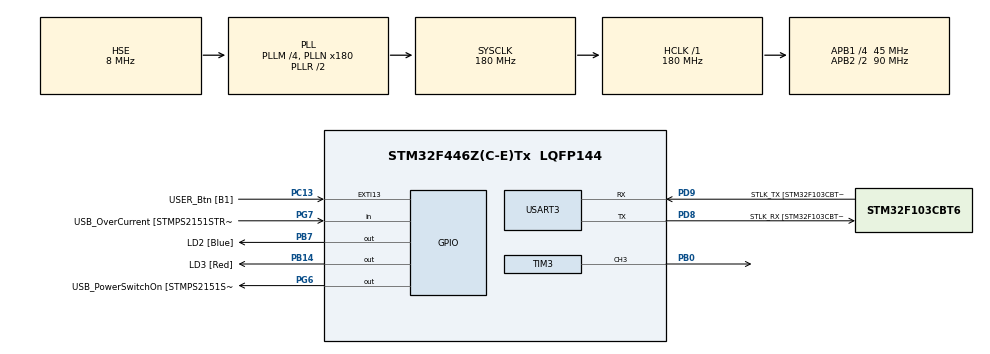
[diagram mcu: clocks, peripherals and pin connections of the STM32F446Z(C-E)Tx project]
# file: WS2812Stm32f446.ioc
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Dma.Request0=TIM3_CH3
Dma.TIM3_CH3.0.Direction=DMA_MEMORY_TO_PERIPH
Dma.TIM3_CH3.0.FIFOMode=DMA_FIFOMODE_DISABLE
Dma.TIM3_CH3.0.Instance=DMA1_Stream7
Dma.TIM3_CH3.0.MemDataAlignment=DMA_MDATAALIGN_HALFWORD
Dma.TIM3_CH3.0.MemInc=DMA_MINC_ENABLE
Dma.TIM3_CH3.0.Mode=DMA_CIRCULAR
Dma.TIM3_CH3.0.PeriphDataAlignment=DMA_PDATAALIGN_HALFWORD
Dma.TIM3_CH3.0.PeriphInc=DMA_PINC_DISABLE
Dma.TIM3_CH3.0.Priority=DMA_PRIORITY_LOW
Mcu.Family=STM32F4
Mcu.Name=STM32F446Z(C-E)Tx
Mcu.Package=LQFP144
NVIC.DMA1_Stream7_IRQn=true\:0\:0\:false\:false\:true\:false\:true\:true
NVIC.PriorityGroup=NVIC_PRIORITYGROUP_4
NVIC.TIM3_IRQn=true\:0\:0\:false\:false\:true\:true\:true\:true
PA10.GPIO_Label=USB_ID
PA10.Signal=USB_OTG_FS_ID
PA11.GPIO_Label=USB_DM
PA11.Signal=USB_OTG_FS_DM
PA12.GPIO_Label=USB_DP
PA12.Signal=USB_OTG_FS_DP
PA13.GPIO_Label=TMS
PA13.Mode=Serial_Wire
PA13.Signal=SYS_JTMS-SWDIO
PA14.GPIO_Label=TCK
PA14.Mode=Serial_Wire
PA14.Signal=SYS_JTCK-SWCLK
PA8.GPIO_Label=USB_SOF [TP1]
PA8.Signal=USB_OTG_FS_SOF
PA9.GPIO_Label=USB_VBUS
PA9.Signal=USB_OTG_FS_VBUS
PB0.Signal=S_TIM3_CH3
PB14.GPIO_Label=LD3 [Red]
PB14.Signal=GPIO_Output
PB7.GPIO_Label=LD2 [Blue]
PB7.Signal=GPIO_Output
PC13.GPIO_Label=USER_Btn [B1]
PC13.Signal=GPXTI13
PC14-OSC32_IN.Mode=LSE-External-Oscillator
PC14-OSC32_IN.Signal=RCC_OSC32_IN
PC15-OSC32_OUT.Mode=LSE-External-Oscillator
PC15-OSC32_OUT.Signal=RCC_OSC32_OUT
PD8.GPIO_Label=STLK_RX [STM32F103CBT6_PA3]
PD8.Mode=Asynchronous
PD8.Signal=USART3_TX
PD9.GPIO_Label=STLK_TX [STM32F103CBT6_PA2]
PD9.Mode=Asynchronous
PD9.Signal=USART3_RX
PG6.GPIO_Label=USB_PowerSwitchOn [STMPS2151STR_EN]
PG6.Signal=GPIO_Output
PG7.GPIO_Label=USB_OverCurrent [STMPS2151STR_FAULT]
PG7.Signal=GPIO_Input
PH0-OSC_IN.GPIO_Label=MCO [STM32F103CBT6_PA8]
PH0-OSC_IN.Mode=HSE-External-Clock-Source
PH0-OSC_IN.Signal=RCC_OSC_IN
PH1-OSC_OUT.Mode=HSE-External-Clock-Source
PH1-OSC_OUT.Signal=RCC_OSC_OUT
ProjectManager.HeapSize=0x200
ProjectManager.StackSize=0x400
ProjectManager.TargetToolchain=MDK-ARM V5.32
RCC.48MHZClocksFreq_Value=24000000
RCC.AHBFreq_Value=180000000
RCC.APB1CLKDivider=RCC_HCLK_DIV4
RCC.APB1Freq_Value=45000000
RCC.APB1TimFreq_Value=90000000
RCC.APB2CLKDivider=RCC_HCLK_DIV2
RCC.APB2Freq_Value=90000000
RCC.APB2TimFreq_Value=180000000
RCC.CortexFreq_Value=180000000
RCC.HCLKFreq_Value=180000000
RCC.HSE_VALUE=8000000
RCC.HSI_VALUE=16000000
RCC.PLLM=4
RCC.PLLMUL=RCC_PLL_MUL9
RCC.PLLN=180
RCC.PLLQ=7
RCC.PLLSourceVirtual=RCC_PLLSOURCE_HSE
RCC.PRESCALERUSB=RCC_USBCLKSOURCE_PLL_DIV1_5
RCC.SYSCLKFreq_VALUE=180000000
RCC.SYSCLKSource=RCC_SYSCLKSOURCE_PLLRCLK
RCC.SYSCLKSourceVirtual=RCC_SYSCLKSOURCE_PLLCLK
RCC.USBFreq_Value=51428571.428571425
RCC.VCOOutputFreq_Value=360000000
SH.S_TIM3_CH3.0=TIM3_CH3,PWM Generation3 CH3
TIM3.Channel-PWM\ Generation3\ CH3=TIM_CHANNEL_3
TIM3.Period=89
USART3.VirtualMode=VM_ASYNC
board=NUCLEO-F446ZE

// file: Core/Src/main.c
/* USER CODE BEGIN Header */
/**
  ******************************************************************************
  * @file           : main.c
  * @brief          : Main program body
  ******************************************************************************
  * @attention
  *
  * Copyright (c) 2024 STMicroelectronics.
  * All rights reserved.
  *
  * This software is licensed under terms that can be found in the LICENSE file
  * in the root directory of this software component.
  * If no LICENSE file comes with this software, it is provided AS-IS.
  *
  ******************************************************************************
  */
/* USER CODE END Header */
#include "main.h"

/* USER CODE BEGIN PD */
#define LED_COUNT 16  // Number of LEDs
#define LED_DATA_SIZE (LED_COUNT * 24)  // Each LED requires 24 bits (8 bits for each color)
#define T0H 30  // High time for a '0' bit (in timer ticks)
#define T1H 60  // High time for a '1' bit (in timer ticks)
#define RES 50  // Reset time (in microseconds)
/* USER CODE END PD */

TIM_HandleTypeDef htim3;
DMA_HandleTypeDef hdma_tim3_ch3;

UART_HandleTypeDef huart3;

/* USER CODE BEGIN PV */
uint8_t led_data[LED_DATA_SIZE];
uint16_t pwm_data[LED_DATA_SIZE];
volatile uint32_t current_led_bit = 0;
volatile uint8_t sending_data = 0;
/* USER CODE END PV */

void SystemClock_Config(void);
static void MX_GPIO_Init(void);
static void MX_DMA_Init(void);
static void MX_TIM3_Init(void);
static void MX_USART3_UART_Init(void);
/* USER CODE BEGIN PFP */
void Set_LED_Color(uint16_t led_number, uint8_t red, uint8_t green, uint8_t blue) {
    uint32_t led_index = led_number * 24;
    for (int i = 0; i < 8; i++) {
        pwm_data[led_index + i] = (green & (1 << (7 - i))) ? T1H : T0H;
        pwm_data[led_index + 8 + i] = (red & (1 << (7 - i))) ? T1H : T0H;
        pwm_data[led_index + 16 + i] = (blue & (1 << (7 - i))) ? T1H : T0H;
    }
}
void WS2812_Send(void) {
    sending_data = 1;
    HAL_TIM_PWM_Start_DMA(&htim3, TIM_CHANNEL_3, (uint32_t*)pwm_data, LED_DATA_SIZE);
}

void HAL_TIM_PWM_PulseFinishedCallback(TIM_HandleTypeDef *htim) {
    if (htim->Instance == TIM3) {
        HAL_TIM_PWM_Stop_DMA(htim, TIM_CHANNEL_3);
        sending_data = 0;
    }
}
//void WS2812_Send(void) {
//    current_led_bit = 0;
//    sending_data = 1;
//    HAL_TIM_Base_Start_IT(&htim3);
//}

//void HAL_TIM_PWM_PulseFinishedCallback(TIM_HandleTypeDef *htim) {
//    if (htim->Instance == TIM3) {
//        if (current_led_bit < LED_DATA_SIZE) {
//            uint8_t bit_value = led_data[current_led_bit++];
//            __HAL_TIM_SET_COMPARE(htim, TIM_CHANNEL_3, bit_value);
//        } else {
//            HAL_TIM_Base_Stop_IT(htim);
//            __HAL_TIM_SET_COMPARE(htim, TIM_CHANNEL_3, 0);  // Data transfer complete
//            sending_data = 0;
//        }
//    }
//}
/* USER CODE END PFP */

int main(void)
{

  /* MCU Configuration--------------------------------------------------------*/

  /* Reset of all peripherals, Initializes the Flash interface and the Systick. */
  HAL_Init();

  /* Configure the system clock */
  SystemClock_Config();

  /* Initialize all configured peripherals */
  MX_GPIO_Init();
  MX_DMA_Init();
  MX_TIM3_Init();
  MX_USART3_UART_Init();

  /* Infinite loop */
  /* USER CODE BEGIN WHILE */
  while (1)
  {
     for (uint32_t brightness = 0; brightness <= 255; brightness++) {
        for (uint32_t i = 0; i < LED_COUNT; i++) {
            // Tüm LED'leri kapat
            for (uint32_t j = 0; j < LED_COUNT; j++) {
                Set_LED_Color(j, 0, 0, 0);
            }
            WS2812_Send();
            HAL_Delay(5);

            // Kirmizi renk
            Set_LED_Color(i, brightness, 0, 0);
            WS2812_Send();
            HAL_Delay(5);

            // Yesil renk
            Set_LED_Color(i, 0, brightness, 0);
            WS2812_Send();
            HAL_Delay(5);

            // Mavi renk
            Set_LED_Color(i, 0, 0, brightness);
            WS2812_Send();
            HAL_Delay(5);
        }
    }

    for (uint32_t brightness = 255; brightness > 0; brightness--) {
        for (uint32_t i = 0; i < LED_COUNT; i++) {
            // Tüm LED'leri kapat
            for (uint32_t j = 0; j < LED_COUNT; j++) {
                Set_LED_Color(j, 0, 0, 0);
            }
            WS2812_Send();
            HAL_Delay(5);

            // Kirmizi renk
            Set_LED_Color(i, brightness, 0, 0);
            WS2812_Send();
            HAL_Delay(5);

            // Yesil renk
            Set_LED_Color(i, 0, brightness, 0);
            WS2812_Send();
            HAL_Delay(5);

            // Mavi renk
            Set_LED_Color(i, 0, 0, brightness);
            WS2812_Send();
            HAL_Delay(5);
        }
    }

    /* USER CODE END WHILE */

  }
}

void SystemClock_Config(void)
{
  RCC_OscInitTypeDef RCC_OscInitStruct = {0};
  RCC_ClkInitTypeDef RCC_ClkInitStruct = {0};

  /** Configure the main internal regulator output voltage
  */
  __HAL_RCC_PWR_CLK_ENABLE();
  __HAL_PWR_VOLTAGESCALING_CONFIG(PWR_REGULATOR_VOLTAGE_SCALE1);

  /** Initializes the RCC Oscillators according to the specified parameters
  * in the RCC_OscInitTypeDef structure.
  */
  RCC_OscInitStruct.OscillatorType = RCC_OSCILLATORTYPE_HSE;
  RCC_OscInitStruct.HSEState = RCC_HSE_BYPASS;
  RCC_OscInitStruct.PLL.PLLState = RCC_PLL_ON;
  RCC_OscInitStruct.PLL.PLLSource = RCC_PLLSOURCE_HSE;
  RCC_OscInitStruct.PLL.PLLM = 4;
  RCC_OscInitStruct.PLL.PLLN = 180;
  RCC_OscInitStruct.PLL.PLLP = RCC_PLLP_DIV2;
  RCC_OscInitStruct.PLL.PLLQ = 7;
  RCC_OscInitStruct.PLL.PLLR = 2;
  if (HAL_RCC_OscConfig(&RCC_OscInitStruct) != HAL_OK)
  {
    Error_Handler();
  }

  /** Activate the Over-Drive mode
  */
  if (HAL_PWREx_EnableOverDrive() != HAL_OK)
  {
    Error_Handler();
  }

  /** Initializes the CPU, AHB and APB buses clocks
  */
  RCC_ClkInitStruct.ClockType = RCC_CLOCKTYPE_HCLK|RCC_CLOCKTYPE_SYSCLK
                              |RCC_CLOCKTYPE_PCLK1|RCC_CLOCKTYPE_PCLK2;
  RCC_ClkInitStruct.SYSCLKSource = RCC_SYSCLKSOURCE_PLLRCLK;
  RCC_ClkInitStruct.AHBCLKDivider = RCC_SYSCLK_DIV1;
  RCC_ClkInitStruct.APB1CLKDivider = RCC_HCLK_DIV4;
  RCC_ClkInitStruct.APB2CLKDivider = RCC_HCLK_DIV2;

  if (HAL_RCC_ClockConfig(&RCC_ClkInitStruct, FLASH_LATENCY_5) != HAL_OK)
  {
    Error_Handler();
  }
}

static void MX_TIM3_Init(void)
{

  TIM_MasterConfigTypeDef sMasterConfig = {0};
  TIM_OC_InitTypeDef sConfigOC = {0};

  htim3.Instance = TIM3;
  htim3.Init.Prescaler = 0;
  htim3.Init.CounterMode = TIM_COUNTERMODE_UP;
  htim3.Init.Period = 89;
  htim3.Init.ClockDivision = TIM_CLOCKDIVISION_DIV1;
  htim3.Init.AutoReloadPreload = TIM_AUTORELOAD_PRELOAD_DISABLE;
  if (HAL_TIM_PWM_Init(&htim3) != HAL_OK)
  {
    Error_Handler();
  }
  sMasterConfig.MasterOutputTrigger = TIM_TRGO_RESET;
  sMasterConfig.MasterSlaveMode = TIM_MASTERSLAVEMODE_DISABLE;
  if (HAL_TIMEx_MasterConfigSynchronization(&htim3, &sMasterConfig) != HAL_OK)
  {
    Error_Handler();
  }
  sConfigOC.OCMode = TIM_OCMODE_PWM1;
  sConfigOC.Pulse = 0;
  sConfigOC.OCPolarity = TIM_OCPOLARITY_HIGH;
  sConfigOC.OCFastMode = TIM_OCFAST_DISABLE;
  if (HAL_TIM_PWM_ConfigChannel(&htim3, &sConfigOC, TIM_CHANNEL_3) != HAL_OK)
  {
    Error_Handler();
  }
  HAL_TIM_MspPostInit(&htim3);

}

static void MX_USART3_UART_Init(void)
{

  huart3.Instance = USART3;
  huart3.Init.BaudRate = 115200;
  huart3.Init.WordLength = UART_WORDLENGTH_8B;
  huart3.Init.StopBits = UART_STOPBITS_1;
  huart3.Init.Parity = UART_PARITY_NONE;
  huart3.Init.Mode = UART_MODE_TX_RX;
  huart3.Init.HwFlowCtl = UART_HWCONTROL_NONE;
  huart3.Init.OverSampling = UART_OVERSAMPLING_16;
  if (HAL_UART_Init(&huart3) != HAL_OK)
  {
    Error_Handler();
  }

}

static void MX_DMA_Init(void)
{

  /* DMA controller clock enable */
  __HAL_RCC_DMA1_CLK_ENABLE();

  /* DMA interrupt init */
  /* DMA1_Stream7_IRQn interrupt configuration */
  HAL_NVIC_SetPriority(DMA1_Stream7_IRQn, 0, 0);
  HAL_NVIC_EnableIRQ(DMA1_Stream7_IRQn);

}

static void MX_GPIO_Init(void)
{
  GPIO_InitTypeDef GPIO_InitStruct = {0};

  /* GPIO Ports Clock Enable */
  __HAL_RCC_GPIOC_CLK_ENABLE();
  __HAL_RCC_GPIOH_CLK_ENABLE();
  __HAL_RCC_GPIOB_CLK_ENABLE();
  __HAL_RCC_GPIOD_CLK_ENABLE();
  __HAL_RCC_GPIOG_CLK_ENABLE();
  __HAL_RCC_GPIOA_CLK_ENABLE();

  /*Configure GPIO pin Output Level */
  HAL_GPIO_WritePin(GPIOB, LD3_Pin|LD2_Pin, GPIO_PIN_RESET);

  /*Configure GPIO pin Output Level */
  HAL_GPIO_WritePin(USB_PowerSwitchOn_GPIO_Port, USB_PowerSwitchOn_Pin, GPIO_PIN_RESET);

  /*Configure GPIO pin : USER_Btn_Pin */
  GPIO_InitStruct.Pin = USER_Btn_Pin;
  GPIO_InitStruct.Mode = GPIO_MODE_IT_RISING;
  GPIO_InitStruct.Pull = GPIO_NOPULL;
  HAL_GPIO_Init(USER_Btn_GPIO_Port, &GPIO_InitStruct);

  /*Configure GPIO pins : LD3_Pin LD2_Pin */
  GPIO_InitStruct.Pin = LD3_Pin|LD2_Pin;
  GPIO_InitStruct.Mode = GPIO_MODE_OUTPUT_PP;
  GPIO_InitStruct.Pull = GPIO_NOPULL;
  GPIO_InitStruct.Speed = GPIO_SPEED_FREQ_LOW;
  HAL_GPIO_Init(GPIOB, &GPIO_InitStruct);

  /*Configure GPIO pin : USB_PowerSwitchOn_Pin */
  GPIO_InitStruct.Pin = USB_PowerSwitchOn_Pin;
  GPIO_InitStruct.Mode = GPIO_MODE_OUTPUT_PP;
  GPIO_InitStruct.Pull = GPIO_NOPULL;
  GPIO_InitStruct.Speed = GPIO_SPEED_FREQ_LOW;
  HAL_GPIO_Init(USB_PowerSwitchOn_GPIO_Port, &GPIO_InitStruct);

  /*Configure GPIO pin : USB_OverCurrent_Pin */
  GPIO_InitStruct.Pin = USB_OverCurrent_Pin;
  GPIO_InitStruct.Mode = GPIO_MODE_INPUT;
  GPIO_InitStruct.Pull = GPIO_NOPULL;
  HAL_GPIO_Init(USB_OverCurrent_GPIO_Port, &GPIO_InitStruct);

  /*Configure GPIO pins : USB_SOF_Pin USB_ID_Pin USB_DM_Pin USB_DP_Pin */
  GPIO_InitStruct.Pin = USB_SOF_Pin|USB_ID_Pin|USB_DM_Pin|USB_DP_Pin;
  GPIO_InitStruct.Mode = GPIO_MODE_AF_PP;
  GPIO_InitStruct.Pull = GPIO_NOPULL;
  GPIO_InitStruct.Speed = GPIO_SPEED_FREQ_VERY_HIGH;
  GPIO_InitStruct.Alternate = GPIO_AF10_OTG_FS;
  HAL_GPIO_Init(GPIOA, &GPIO_InitStruct);

  /*Configure GPIO pin : USB_VBUS_Pin */
  GPIO_InitStruct.Pin = USB_VBUS_Pin;
  GPIO_InitStruct.Mode = GPIO_MODE_INPUT;
  GPIO_InitStruct.Pull = GPIO_NOPULL;
  HAL_GPIO_Init(USB_VBUS_GPIO_Port, &GPIO_InitStruct);

}

void Error_Handler(void)
{
  __disable_irq();
  while (1)
  {
  }
}
